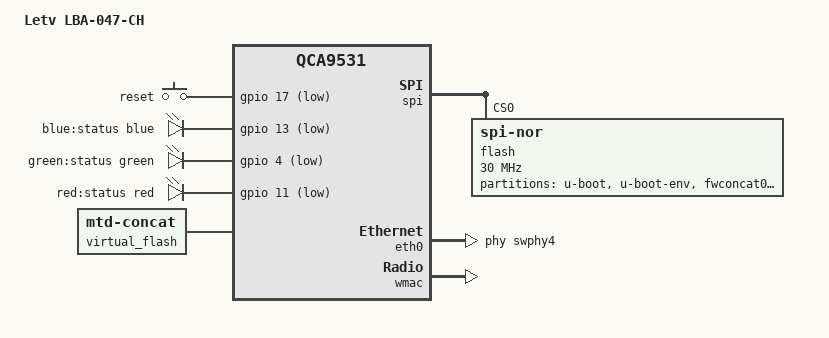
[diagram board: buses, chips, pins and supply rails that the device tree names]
// SPDX-License-Identifier: GPL-2.0-or-later OR MIT

#include "qca953x.dtsi"

#include <dt-bindings/gpio/gpio.h>
#include <dt-bindings/input/input.h>
#include <dt-bindings/leds/common.h>
#include <dt-bindings/mtd/partitions/uimage.h>

/ {
	model = "Letv LBA-047-CH";
	compatible = "letv,lba-047-ch", "qca,qca9531";

	aliases {
		label-mac-device = &eth0;
		led-boot = &led_status_red;
		led-failsafe = &led_status_blue;
		led-running = &led_status_green;
		led-upgrade = &led_status_blue;
	};

	keys {
		compatible = "gpio-keys";

		reset {
			label = "reset";
			linux,code = <KEY_RESTART>;
			gpios = <&gpio 17 GPIO_ACTIVE_LOW>;
		};
	};

	leds {
		compatible = "gpio-leds";

		led_status_blue: led-0 {
			label = "blue:status";
			color = <LED_COLOR_ID_BLUE>;
			function = LED_FUNCTION_STATUS;
			gpios = <&gpio 13 GPIO_ACTIVE_LOW>;
		};

		led_status_green: led-1 {
			label = "green:status";
			color = <LED_COLOR_ID_GREEN>;
			function = LED_FUNCTION_STATUS;
			gpios = <&gpio 4 GPIO_ACTIVE_LOW>;
		};

		led_status_red: led-2 {
			label = "red:status";
			color = <LED_COLOR_ID_RED>;
			function = LED_FUNCTION_STATUS;
			gpios = <&gpio 11 GPIO_ACTIVE_LOW>;
		};
	};

	virtual_flash {
		compatible = "mtd-concat";
		devices = <&fwconcat0 &fwconcat1>;

		partitions {
			compatible = "fixed-partitions";
			#address-cells = <1>;
			#size-cells = <1>;

			partition@0 {
				reg = <0x0 0x0>;
				label = "firmware";
				compatible = "openwrt,uimage", "denx,uimage";
				openwrt,ih-magic = <IH_MAGIC_OKLI>;
			};
		};
	};
};

&spi {
	status = "okay";

	flash@0 {
		compatible = "jedec,spi-nor";
		reg = <0>;
		spi-max-frequency = <30000000>;
		m25p,fast-read;

		partitions {
			compatible = "fixed-partitions";
			#address-cells = <1>;
			#size-cells = <1>;

			partition@0 {
				label = "u-boot";
				reg = <0x0 0x40000>;
				read-only;
			};

			partition@40000 {
				label = "u-boot-env";
				reg = <0x40000 0x10000>;
				read-only;
			};

			fwconcat0: partition@50000 {
				label = "fwconcat0";
				reg = <0x50000 0xe30000>;
			};

			partition@e80000 {
				label = "loader";
				reg = <0xe80000 0x10000>;
			};

			fwconcat1: partition@e90000 {
				label = "fwconcat1";
				reg = <0xe90000 0x160000>;
			};

			partition@ff0000 {
				label = "art";
				reg = <0xff0000 0x10000>;
				read-only;

				nvmem-layout {
					compatible = "fixed-layout";
					#address-cells = <1>;
					#size-cells = <1>;

					macaddr_art_0: macaddr@0 {
						reg = <0x0 0x6>;
					};

					macaddr_art_6: macaddr@6 {
						reg = <0x6 0x6>;
					};

					cal_art_1000: calibration@1000 {
						reg = <0x1000 0x440>;
					};
				};
			};
		};
	};
};

&eth0 {
	status = "okay";

	phy-handle = <&swphy4>;

	nvmem-cells = <&macaddr_art_0>;
	nvmem-cell-names = "mac-address";
};

&eth1 {
	compatible = "qca,qca9530-eth", "syscon", "simple-mfd";

	nvmem-cells = <&macaddr_art_6>;
	nvmem-cell-names = "mac-address";
};

&wmac {
	status = "okay";

	nvmem-cells = <&cal_art_1000>;
	nvmem-cell-names = "calibration";
};
